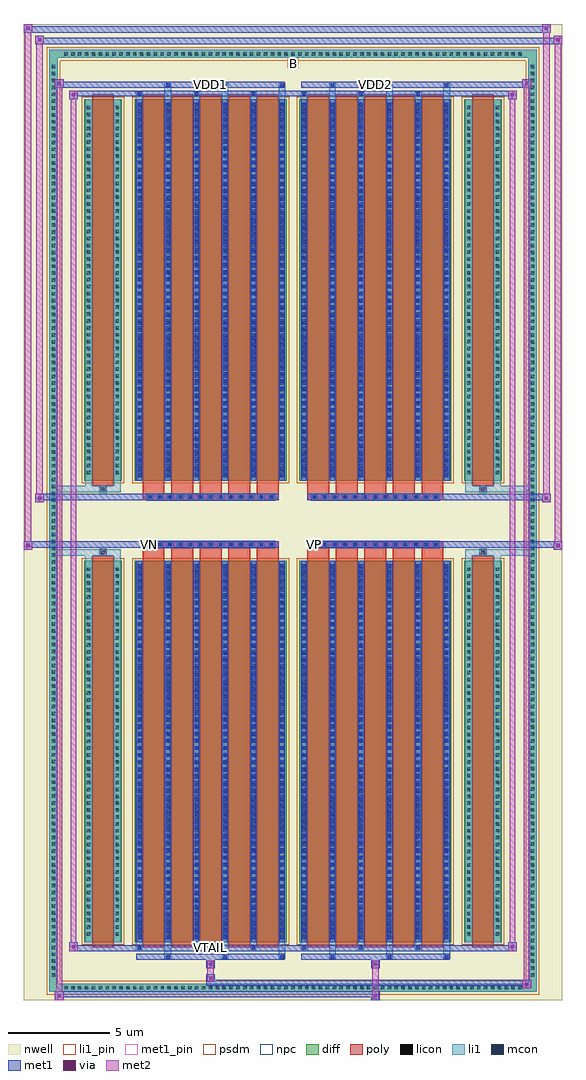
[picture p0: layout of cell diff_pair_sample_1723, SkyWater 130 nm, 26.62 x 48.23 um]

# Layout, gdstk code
import gdstk
lib = gdstk.Library(unit=1e-6, precision=5e-09)
def R(c, l, rs):  # rectangles x0, y0, x1, y1
    for r in rs: c.add(gdstk.rectangle(r[:2], r[2:], *l))
def A(c, l, x, y, w, h, nx, ny, dx, dy):  # array of equal rectangles
    R(c, l, [(x+i*dx, y+j*dy, x+i*dx+w, y+j*dy+h) for i in range(nx) for j in range(ny)])
def P(c, l, *ps):  # polygons
    for p in ps: c.add(gdstk.Polygon(p, *l))
nwell = (64, 20)
diff = (65, 20)
poly = (66, 20)
licon = (66, 44)
li1_pin = (67, 16)
li1 = (67, 20)
mcon = (67, 44)
met1_pin = (68, 16)
met1 = (68, 20)
via = (68, 44)
met2 = (69, 20)
psdm = (94, 20)
npc = (95, 20)

diff_pair_sample_1723 = lib.new_cell('diff_pair_sample_1723')
R(diff_pair_sample_1723, nwell, [(-13.31,-23.68,13.31,24.55), (-10.63,-21.87,-0.01,-0.805), (0.01,-21.87,10.63,-0.805), (-10.63,0.805,-0.01,21.87), (0.01,0.805,10.63,21.87)])
A(diff_pair_sample_1723, diff, -11.425, -23.28, 0.41, 0.41, 67, 2, 0.34, 46.15)
A(diff_pair_sample_1723, diff, -12.04, -22.645, 0.41, 0.41, 1, 133, 0, 0.34)
A(diff_pair_sample_1723, diff, 11.63, -22.645, 0.41, 0.41, 1, 133, 0, 0.34)
R(diff_pair_sample_1723, diff, [(-11.425,-23.28,11.425,-22.87), (-12.04,-22.645,-11.63,22.645), (11.63,-22.645,12.04,22.645), (-10.32,-20.825,-8.46,-1.985), (-7.82,-20.825,-0.32,-1.985), (0.32,-20.825,7.82,-1.985), (8.46,-20.825,10.32,-1.985), (-10.32,1.985,-8.46,20.825), (-7.82,1.985,-0.32,20.825), (0.32,1.985,7.82,20.825), (8.46,1.985,10.32,20.825), (-11.425,22.87,11.425,23.28)])
P(diff_pair_sample_1723, diff, [(12.04,23.28),(-12.04,23.28),(-12.04,-22.87),(-11.63,-22.87),(-11.63,22.87),(11.63,22.87),(11.63,-22.87),(-11.63,-22.87),(-12.04,-22.87),(-12.04,-23.28),(12.04,-23.28)])
A(diff_pair_sample_1723, poly, -7.43, -21.075, 1.08, 19.34, 5, 2, 1.41, 22.81)
A(diff_pair_sample_1723, poly, 0.71, -21.075, 1.08, 19.34, 5, 2, 1.41, 22.81)
A(diff_pair_sample_1723, poly, -7.43, -1.735, 1.08, 0.4, 5, 2, 1.41, 3.07)
A(diff_pair_sample_1723, poly, 0.71, -1.735, 1.08, 0.4, 5, 2, 1.41, 3.07)
A(diff_pair_sample_1723, poly, -7.235, -1.335, 0.33, 0.33, 13, 2, 0.5, 2.34)
A(diff_pair_sample_1723, poly, 0.905, -1.335, 0.33, 0.33, 13, 2, 0.5, 2.34)
R(diff_pair_sample_1723, poly, [(-9.93,-21.075,-8.85,-1.735), (8.85,-21.075,9.93,-1.735), (-9.555,-1.735,-9.225,-1.405), (-9.555,-1.735,-9.225,-1.405), (9.225,-1.735,9.555,-1.405), (9.225,-1.735,9.555,-1.405), (-7.43,-1.335,-0.71,-1.005), (0.71,-1.335,7.43,-1.005), (-7.43,1.005,-0.71,1.335), (0.71,1.005,7.43,1.335), (-9.555,1.405,-9.225,1.735), (-9.555,1.405,-9.225,1.735), (9.225,1.405,9.555,1.735), (9.225,1.405,9.555,1.735), (-9.93,1.735,-8.85,21.075), (8.85,1.735,9.93,21.075)])
A(diff_pair_sample_1723, licon, -11.305, -23.16, 0.17, 0.17, 67, 2, 0.34, 46.15)
A(diff_pair_sample_1723, licon, -11.92, -22.525, 0.17, 0.17, 1, 133, 0, 0.34)
A(diff_pair_sample_1723, licon, 11.75, -22.525, 0.17, 0.17, 1, 133, 0, 0.34)
A(diff_pair_sample_1723, licon, -10.18, -20.5, 0.17, 0.17, 1, 54, 0, 0.34)
A(diff_pair_sample_1723, licon, -8.77, -20.5, 0.17, 0.17, 1, 54, 0, 0.34)
A(diff_pair_sample_1723, licon, -7.68, -20.5, 0.17, 0.17, 6, 54, 1.41, 0.34)
A(diff_pair_sample_1723, licon, 0.46, -20.5, 0.17, 0.17, 6, 54, 1.41, 0.34)
A(diff_pair_sample_1723, licon, 8.6, -20.5, 0.17, 0.17, 1, 54, 0, 0.34)
A(diff_pair_sample_1723, licon, 10.01, -20.5, 0.17, 0.17, 1, 54, 0, 0.34)
A(diff_pair_sample_1723, licon, -7.155, -1.255, 0.17, 0.17, 13, 2, 0.5, 2.34)
A(diff_pair_sample_1723, licon, 0.985, -1.255, 0.17, 0.17, 13, 2, 0.5, 2.34)
A(diff_pair_sample_1723, licon, -10.18, 2.31, 0.17, 0.17, 1, 54, 0, 0.34)
A(diff_pair_sample_1723, licon, -8.77, 2.31, 0.17, 0.17, 1, 54, 0, 0.34)
A(diff_pair_sample_1723, licon, -7.68, 2.31, 0.17, 0.17, 6, 54, 1.41, 0.34)
A(diff_pair_sample_1723, licon, 0.46, 2.31, 0.17, 0.17, 6, 54, 1.41, 0.34)
A(diff_pair_sample_1723, licon, 8.6, 2.31, 0.17, 0.17, 1, 54, 0, 0.34)
A(diff_pair_sample_1723, licon, 10.01, 2.31, 0.17, 0.17, 1, 54, 0, 0.34)
R(diff_pair_sample_1723, licon, [(-9.475,-1.655,-9.305,-1.485), (9.305,-1.655,9.475,-1.485), (-9.475,1.485,-9.305,1.655), (9.305,1.485,9.475,1.655)])
R(diff_pair_sample_1723, li1_pin, [(-0.25,22.37,0.25,22.87)])
A(diff_pair_sample_1723, li1, -11.385, -23.24, 0.33, 0.33, 67, 2, 0.34, 46.15)
A(diff_pair_sample_1723, li1, -12, -22.605, 0.33, 0.33, 1, 133, 0, 0.34)
A(diff_pair_sample_1723, li1, 11.67, -22.605, 0.33, 0.33, 1, 133, 0, 0.34)
A(diff_pair_sample_1723, li1, -6.35, -21.63, 0.33, 0.805, 3, 2, 2.82, 42.455)
A(diff_pair_sample_1723, li1, -6.27, -21.63, 0.17, 0.17, 3, 2, 2.82, 43.09)
A(diff_pair_sample_1723, li1, 1.79, -21.63, 0.33, 0.805, 3, 2, 2.82, 42.455)
A(diff_pair_sample_1723, li1, 1.87, -21.63, 0.17, 0.17, 3, 2, 2.82, 43.09)
A(diff_pair_sample_1723, li1, -7.76, -21.2, 0.33, 0.375, 3, 2, 2.82, 42.025)
A(diff_pair_sample_1723, li1, -7.68, -21.2, 0.17, 0.17, 3, 2, 2.82, 42.23)
A(diff_pair_sample_1723, li1, 0.38, -21.2, 0.33, 0.375, 3, 2, 2.82, 42.025)
A(diff_pair_sample_1723, li1, 0.46, -21.2, 0.17, 0.17, 3, 2, 2.82, 42.23)
A(diff_pair_sample_1723, li1, -7.76, -20.825, 0.33, 18.84, 6, 2, 1.41, 22.81)
A(diff_pair_sample_1723, li1, 0.38, -20.825, 0.33, 18.84, 6, 2, 1.41, 22.81)
A(diff_pair_sample_1723, li1, -7.68, -20.67, 0.17, 0.17, 6, 52, 1.41, 0.36)
A(diff_pair_sample_1723, li1, -7.68, -20.67, 0.17, 18.53, 6, 2, 1.41, 22.81)
A(diff_pair_sample_1723, li1, 0.46, -20.67, 0.17, 0.17, 6, 52, 1.41, 0.36)
A(diff_pair_sample_1723, li1, 0.46, -20.67, 0.17, 18.53, 6, 2, 1.41, 22.81)
A(diff_pair_sample_1723, li1, -10.26, -20.58, 0.33, 0.33, 1, 54, 0, 0.34)
A(diff_pair_sample_1723, li1, -8.85, -20.58, 0.33, 0.33, 1, 54, 0, 0.34)
A(diff_pair_sample_1723, li1, -7.76, -20.58, 0.33, 0.33, 6, 54, 1.41, 0.34)
A(diff_pair_sample_1723, li1, 0.38, -20.58, 0.33, 0.33, 6, 54, 1.41, 0.34)
A(diff_pair_sample_1723, li1, 8.52, -20.58, 0.33, 0.33, 1, 54, 0, 0.34)
A(diff_pair_sample_1723, li1, 9.93, -20.58, 0.33, 0.33, 1, 54, 0, 0.34)
A(diff_pair_sample_1723, li1, -7.235, -1.335, 0.33, 0.33, 13, 2, 0.5, 2.34)
A(diff_pair_sample_1723, li1, 0.905, -1.335, 0.33, 0.33, 13, 2, 0.5, 2.34)
A(diff_pair_sample_1723, li1, -7.68, 2.14, 0.17, 0.17, 6, 52, 1.41, 0.36)
A(diff_pair_sample_1723, li1, 0.46, 2.14, 0.17, 0.17, 6, 52, 1.41, 0.36)
A(diff_pair_sample_1723, li1, -10.26, 2.23, 0.33, 0.33, 1, 54, 0, 0.34)
A(diff_pair_sample_1723, li1, -8.85, 2.23, 0.33, 0.33, 1, 54, 0, 0.34)
A(diff_pair_sample_1723, li1, -7.76, 2.23, 0.33, 0.33, 6, 54, 1.41, 0.34)
A(diff_pair_sample_1723, li1, 0.38, 2.23, 0.33, 0.33, 6, 54, 1.41, 0.34)
A(diff_pair_sample_1723, li1, 8.52, 2.23, 0.33, 0.33, 1, 54, 0, 0.34)
A(diff_pair_sample_1723, li1, 9.93, 2.23, 0.33, 0.33, 1, 54, 0, 0.34)
R(diff_pair_sample_1723, li1, [(-12.04,-23.28,-11.63,-22.87), (-12.04,-23.28,-11.63,-22.87), (-11.63,-23.28,11.63,-22.87), (11.63,-23.28,12.04,-22.87), (11.63,-23.28,12.04,-22.87), (-12.04,-22.87,-11.63,22.87), (11.63,-22.87,12.04,22.87), (-10.26,-20.825,-9.93,-1.985), (-8.85,-20.825,-8.52,-1.985), (8.52,-20.825,8.85,-1.985), (9.93,-20.825,10.26,-1.985), (-10.26,-1.985,-9.93,-1.405), (-8.85,-1.985,-8.52,-1.405), (8.52,-1.985,8.85,-1.405), (9.93,-1.985,10.26,-1.405), (-12.04,-1.735,-9.555,-1.405), (-10.26,-1.735,-9.555,-1.405), (-9.555,-1.735,-9.225,-1.405), (-9.225,-1.735,-8.52,-1.405), (8.52,-1.735,9.225,-1.405), (9.225,-1.735,9.555,-1.405), (9.225,-1.735,12.04,-1.405), (9.555,-1.735,10.26,-1.405), (-12.04,1.405,-9.555,1.735), (-10.26,1.405,-9.555,1.735), (-10.26,1.405,-9.93,1.985), (-9.555,1.405,-9.225,1.735), (-9.225,1.405,-8.52,1.735), (-8.85,1.405,-8.52,1.985), (8.52,1.405,9.225,1.735), (8.52,1.405,8.85,1.985), (9.225,1.405,9.555,1.735), (9.225,1.405,12.04,1.735), (9.555,1.405,10.26,1.735), (9.93,1.405,10.26,1.985), (-10.26,1.985,-9.93,20.825), (-8.85,1.985,-8.52,20.825), (8.52,1.985,8.85,20.825), (9.93,1.985,10.26,20.825), (-12.04,22.87,-11.63,23.28), (-12.04,22.87,-11.63,23.28), (-11.63,22.87,11.63,23.28), (11.63,22.87,12.04,23.28), (11.63,22.87,12.04,23.28)])
A(diff_pair_sample_1723, mcon, -6.27, -21.63, 0.17, 0.17, 3, 2, 2.82, 43.09)
A(diff_pair_sample_1723, mcon, 1.87, -21.63, 0.17, 0.17, 3, 2, 2.82, 43.09)
A(diff_pair_sample_1723, mcon, -7.68, -21.2, 0.17, 0.17, 3, 2, 2.82, 42.23)
A(diff_pair_sample_1723, mcon, 0.46, -21.2, 0.17, 0.17, 3, 2, 2.82, 42.23)
A(diff_pair_sample_1723, mcon, -7.68, -20.67, 0.17, 0.17, 6, 52, 1.41, 0.36)
A(diff_pair_sample_1723, mcon, 0.46, -20.67, 0.17, 0.17, 6, 52, 1.41, 0.36)
A(diff_pair_sample_1723, mcon, -7.155, -1.255, 0.17, 0.17, 13, 2, 0.5, 2.34)
A(diff_pair_sample_1723, mcon, 0.985, -1.255, 0.17, 0.17, 13, 2, 0.5, 2.34)
A(diff_pair_sample_1723, mcon, -7.68, 2.14, 0.17, 0.17, 6, 52, 1.41, 0.36)
A(diff_pair_sample_1723, mcon, 0.46, 2.14, 0.17, 0.17, 6, 52, 1.41, 0.36)
R(diff_pair_sample_1723, met1_pin, [(-4.205,-21.24,-3.935,-20.97), (-7.205,-1.295,-6.935,-1.025), (0.935,-1.295,1.205,-1.025), (-4.205,21.42,-3.935,21.69), (3.935,21.42,4.205,21.69)])
A(diff_pair_sample_1723, met1, -6.33, -21.69, 0.29, 0.29, 3, 2, 2.82, 43.09)
A(diff_pair_sample_1723, met1, 1.81, -21.69, 0.29, 0.29, 3, 2, 2.82, 43.09)
A(diff_pair_sample_1723, met1, -7.74, -21.26, 0.29, 0.29, 3, 2, 2.82, 42.23)
A(diff_pair_sample_1723, met1, 0.4, -21.26, 0.29, 0.29, 3, 2, 2.82, 42.23)
A(diff_pair_sample_1723, met1, -7.74, -20.825, 0.29, 18.84, 6, 2, 1.41, 22.81)
A(diff_pair_sample_1723, met1, 0.4, -20.825, 0.29, 18.84, 6, 2, 1.41, 22.81)
A(diff_pair_sample_1723, met1, -7.74, -20.73, 0.29, 0.29, 6, 52, 1.41, 0.36)
A(diff_pair_sample_1723, met1, 0.4, -20.73, 0.29, 0.29, 6, 52, 1.41, 0.36)
A(diff_pair_sample_1723, met1, -7.215, -1.315, 0.29, 0.29, 13, 2, 0.5, 2.34)
A(diff_pair_sample_1723, met1, 0.925, -1.315, 0.29, 0.29, 13, 2, 0.5, 2.34)
A(diff_pair_sample_1723, met1, -7.74, 2.08, 0.29, 0.29, 6, 52, 1.41, 0.36)
A(diff_pair_sample_1723, met1, 0.4, 2.08, 0.29, 0.29, 6, 52, 1.41, 0.36)
R(diff_pair_sample_1723, met1, [(-11.77,-23.68,-11.34,-23.25), (3.855,-23.68,4.285,-23.25), (-11.77,-23.54,4.285,-23.25), (11.34,-23.11,11.77,-22.68), (-4.285,-22.97,11.77,-22.68), (-4.285,-22.83,-3.855,-22.4), (-4.285,-22.12,-3.855,-21.69), (3.855,-22.12,4.285,-21.69), (-7.74,-21.69,-0.4,-21.4), (0.4,-21.69,7.74,-21.4), (-11.06,-21.26,-10.63,-20.83), (-11.06,-21.26,-7.74,-20.97), (-7.74,-21.26,-0.4,-20.97), (-0.4,-21.26,0.4,-20.97), (0.4,-21.26,7.74,-20.97), (7.74,-21.26,11.06,-20.97), (10.63,-21.26,11.06,-20.83), (-13.31,-1.435,-12.88,-1.005), (12.88,-1.435,13.31,-1.005), (-13.31,-1.335,-0.71,-1.005), (-7.43,-1.335,-0.71,-1.005), (0.71,-1.335,7.43,-1.005), (0.71,-1.335,13.31,-1.005), (-12.74,0.905,-12.31,1.335), (12.31,0.905,12.74,1.335), (-12.74,1.005,-7.43,1.335), (-7.43,1.005,-0.71,1.335), (0.71,1.005,7.43,1.335), (7.43,1.005,12.74,1.335), (-11.06,20.83,-10.63,21.26), (10.63,20.83,11.06,21.26), (-11.06,20.97,-7.74,21.26), (-7.74,20.97,-0.4,21.26), (-0.4,20.97,0.4,21.26), (0.4,20.97,7.74,21.26), (7.74,20.97,11.06,21.26), (-11.77,21.4,-11.34,21.83), (-11.77,21.4,-7.74,21.69), (-7.74,21.4,-0.4,21.69), (0.4,21.4,7.74,21.69), (7.74,21.4,11.77,21.69), (11.34,21.4,11.77,21.83), (-12.74,23.55,-12.31,23.98), (-12.74,23.55,-10.63,23.88), (-10.63,23.55,10.63,23.88), (10.63,23.55,13.31,23.88), (12.88,23.55,13.31,23.98), (-13.31,24.12,-12.88,24.55), (-13.31,24.12,-10.63,24.45), (-10.63,24.12,10.63,24.45), (10.63,24.12,12.74,24.45), (12.31,24.12,12.74,24.55)])
R(diff_pair_sample_1723, via, [(-11.63,-23.54,-11.48,-23.39), (3.995,-23.54,4.145,-23.39), (11.48,-22.97,11.63,-22.82), (-4.145,-22.69,-3.995,-22.54), (-4.145,-21.98,-3.995,-21.83), (3.995,-21.98,4.145,-21.83), (-10.92,-21.12,-10.77,-20.97), (10.77,-21.12,10.92,-20.97), (-13.17,-1.295,-13.02,-1.145), (13.02,-1.295,13.17,-1.145), (-12.6,1.045,-12.45,1.195), (12.45,1.045,12.6,1.195), (-10.92,20.97,-10.77,21.12), (10.77,20.97,10.92,21.12), (-11.63,21.54,-11.48,21.69), (11.48,21.54,11.63,21.69), (-12.6,23.69,-12.45,23.84), (13.02,23.69,13.17,23.84), (-13.17,24.26,-13.02,24.41), (12.45,24.26,12.6,24.41)])
R(diff_pair_sample_1723, met2, [(-11.77,-23.68,-11.34,-23.25), (-11.7,-23.68,-11.41,21.83), (-11.41,-23.68,-11.34,-23.25), (-11.72,-23.63,-11.39,-23.3), (3.905,-23.63,4.235,-23.3), (3.905,-23.3,4.235,-22.07), (11.34,-23.11,11.77,-22.68), (11.41,-23.11,11.7,21.83), (11.7,-23.11,11.77,-22.68), (11.39,-23.06,11.72,-22.73), (-4.235,-22.78,-3.905,-22.45), (-4.235,-22.45,-3.905,-22.07), (-4.235,-22.07,-3.905,-21.74), (3.905,-22.07,4.235,-21.74), (-11.06,-21.26,-10.63,-20.83), (-10.99,-21.26,-10.7,21.26), (-10.7,-21.26,-10.63,-20.83), (10.63,-21.26,11.06,-20.83), (10.7,-21.26,10.99,21.26), (10.99,-21.26,11.06,-20.83), (-11.01,-21.21,-10.68,-20.88), (10.68,-21.21,11.01,-20.88), (-13.31,-1.435,-12.88,-1.005), (-13.26,-1.435,-12.93,24.55), (-12.93,-1.435,-12.88,-1.005), (12.88,-1.435,13.31,-1.005), (12.93,-1.435,13.26,23.98), (13.26,-1.435,13.31,-1.005), (-13.26,-1.385,-12.93,-1.055), (12.93,-1.385,13.26,-1.055), (-12.74,0.905,-12.31,1.335), (-12.69,0.905,-12.36,23.98), (-12.36,0.905,-12.31,1.335), (12.31,0.905,12.74,1.335), (12.36,0.905,12.69,24.55), (12.69,0.905,12.74,1.335), (-12.69,0.955,-12.36,1.285), (12.36,0.955,12.69,1.285), (-11.06,20.83,-10.63,21.26), (-10.7,20.83,-10.63,21.26), (10.63,20.83,11.06,21.26), (10.99,20.83,11.06,21.26), (-11.01,20.88,-10.68,21.21), (10.68,20.88,11.01,21.21), (-11.77,21.4,-11.34,21.83), (-11.41,21.4,-11.34,21.83), (11.34,21.4,11.77,21.83), (11.7,21.4,11.77,21.83), (-11.72,21.45,-11.39,21.78), (11.39,21.45,11.72,21.78), (-12.74,23.55,-12.31,23.98), (-12.36,23.55,-12.31,23.98), (12.88,23.55,13.31,23.98), (13.26,23.55,13.31,23.98), (-12.69,23.6,-12.36,23.93), (12.93,23.6,13.26,23.93), (-13.31,24.12,-12.88,24.55), (-12.93,24.12,-12.88,24.55), (12.31,24.12,12.74,24.55), (12.69,24.12,12.74,24.55), (-13.26,24.17,-12.93,24.5), (12.36,24.17,12.69,24.5)])
R(diff_pair_sample_1723, psdm, [(-10.45,-20.955,-8.33,-1.855), (-7.95,-20.955,-0.19,-1.855), (0.19,-20.955,7.95,-1.855), (8.33,-20.955,10.45,-1.855), (-10.45,1.855,-8.33,20.955), (-7.95,1.855,-0.19,20.955), (0.19,1.855,7.95,20.955), (8.33,1.855,10.45,20.955)])
P(diff_pair_sample_1723, psdm, [(12.17,23.41),(-12.17,23.41),(-12.17,-22.74),(-11.5,-22.74),(-11.5,22.74),(11.5,22.74),(11.5,-22.74),(-11.5,-22.74),(-12.17,-22.74),(-12.17,-23.41),(12.17,-23.41)])
A(diff_pair_sample_1723, npc, -7.255, -1.355, 0.37, 0.37, 13, 2, 0.5, 2.34)
A(diff_pair_sample_1723, npc, 0.885, -1.355, 0.37, 0.37, 13, 2, 0.5, 2.34)
R(diff_pair_sample_1723, npc, [(-9.575,-1.755,-9.205,-1.385), (9.205,-1.755,9.575,-1.385), (-7.255,-1.355,-6.385,-0.985), (-7.255,-1.355,-6.385,-0.985), (-6.755,-1.355,-5.885,-0.985), (-6.755,-1.355,-5.885,-0.985), (-6.255,-1.355,-5.385,-0.985), (-6.255,-1.355,-5.385,-0.985), (-5.755,-1.355,-4.885,-0.985), (-5.755,-1.355,-4.885,-0.985), (-5.255,-1.355,-4.385,-0.985), (-5.255,-1.355,-4.385,-0.985), (-4.755,-1.355,-3.885,-0.985), (-4.755,-1.355,-3.885,-0.985), (-4.255,-1.355,-3.385,-0.985), (-4.255,-1.355,-3.385,-0.985), (-3.755,-1.355,-2.885,-0.985), (-3.755,-1.355,-2.885,-0.985), (-3.255,-1.355,-2.385,-0.985), (-3.255,-1.355,-2.385,-0.985), (-2.755,-1.355,-1.885,-0.985), (-2.755,-1.355,-1.885,-0.985), (-2.255,-1.355,-1.385,-0.985), (-2.255,-1.355,-1.385,-0.985), (-1.755,-1.355,-0.885,-0.985), (-1.755,-1.355,-0.885,-0.985), (0.885,-1.355,1.755,-0.985), (0.885,-1.355,1.755,-0.985), (1.385,-1.355,2.255,-0.985), (1.385,-1.355,2.255,-0.985), (1.885,-1.355,2.755,-0.985), (1.885,-1.355,2.755,-0.985), (2.385,-1.355,3.255,-0.985), (2.385,-1.355,3.255,-0.985), (2.885,-1.355,3.755,-0.985), (2.885,-1.355,3.755,-0.985), (3.385,-1.355,4.255,-0.985), (3.385,-1.355,4.255,-0.985), (3.885,-1.355,4.755,-0.985), (3.885,-1.355,4.755,-0.985), (4.385,-1.355,5.255,-0.985), (4.385,-1.355,5.255,-0.985), (4.885,-1.355,5.755,-0.985), (4.885,-1.355,5.755,-0.985), (5.385,-1.355,6.255,-0.985), (5.385,-1.355,6.255,-0.985), (5.885,-1.355,6.755,-0.985), (5.885,-1.355,6.755,-0.985), (6.385,-1.355,7.255,-0.985), (6.385,-1.355,7.255,-0.985), (-7.255,0.985,-6.385,1.355), (-7.255,0.985,-6.385,1.355), (-6.755,0.985,-5.885,1.355), (-6.755,0.985,-5.885,1.355), (-6.255,0.985,-5.385,1.355), (-6.255,0.985,-5.385,1.355), (-5.755,0.985,-4.885,1.355), (-5.755,0.985,-4.885,1.355), (-5.255,0.985,-4.385,1.355), (-5.255,0.985,-4.385,1.355), (-4.755,0.985,-3.885,1.355), (-4.755,0.985,-3.885,1.355), (-4.255,0.985,-3.385,1.355), (-4.255,0.985,-3.385,1.355), (-3.755,0.985,-2.885,1.355), (-3.755,0.985,-2.885,1.355), (-3.255,0.985,-2.385,1.355), (-3.255,0.985,-2.385,1.355), (-2.755,0.985,-1.885,1.355), (-2.755,0.985,-1.885,1.355), (-2.255,0.985,-1.385,1.355), (-2.255,0.985,-1.385,1.355), (-1.755,0.985,-0.885,1.355), (-1.755,0.985,-0.885,1.355), (0.885,0.985,1.755,1.355), (0.885,0.985,1.755,1.355), (1.385,0.985,2.255,1.355), (1.385,0.985,2.255,1.355), (1.885,0.985,2.755,1.355), (1.885,0.985,2.755,1.355), (2.385,0.985,3.255,1.355), (2.385,0.985,3.255,1.355), (2.885,0.985,3.755,1.355), (2.885,0.985,3.755,1.355), (3.385,0.985,4.255,1.355), (3.385,0.985,4.255,1.355), (3.885,0.985,4.755,1.355), (3.885,0.985,4.755,1.355), (4.385,0.985,5.255,1.355), (4.385,0.985,5.255,1.355), (4.885,0.985,5.755,1.355), (4.885,0.985,5.755,1.355), (5.385,0.985,6.255,1.355), (5.385,0.985,6.255,1.355), (5.885,0.985,6.755,1.355), (5.885,0.985,6.755,1.355), (6.385,0.985,7.255,1.355), (6.385,0.985,7.255,1.355), (-9.575,1.385,-9.205,1.755), (9.205,1.385,9.575,1.755)])
diff_pair_sample_1723.add(gdstk.Label('VTAIL', (-4.07,-21.105), layer=68, texttype=5))
diff_pair_sample_1723.add(gdstk.Label('VN', (-7.07,-1.16), layer=68, texttype=5))
diff_pair_sample_1723.add(gdstk.Label('VP', (1.07,-1.16), layer=68, texttype=5))
diff_pair_sample_1723.add(gdstk.Label('B', (0,22.62), layer=67, texttype=5))
diff_pair_sample_1723.add(gdstk.Label('VDD2', (4.07,21.555), layer=68, texttype=5))
diff_pair_sample_1723.add(gdstk.Label('VDD1', (-4.07,21.555), layer=68, texttype=5))

lib.write_gds('diff_pair_sample_1723.gds')
